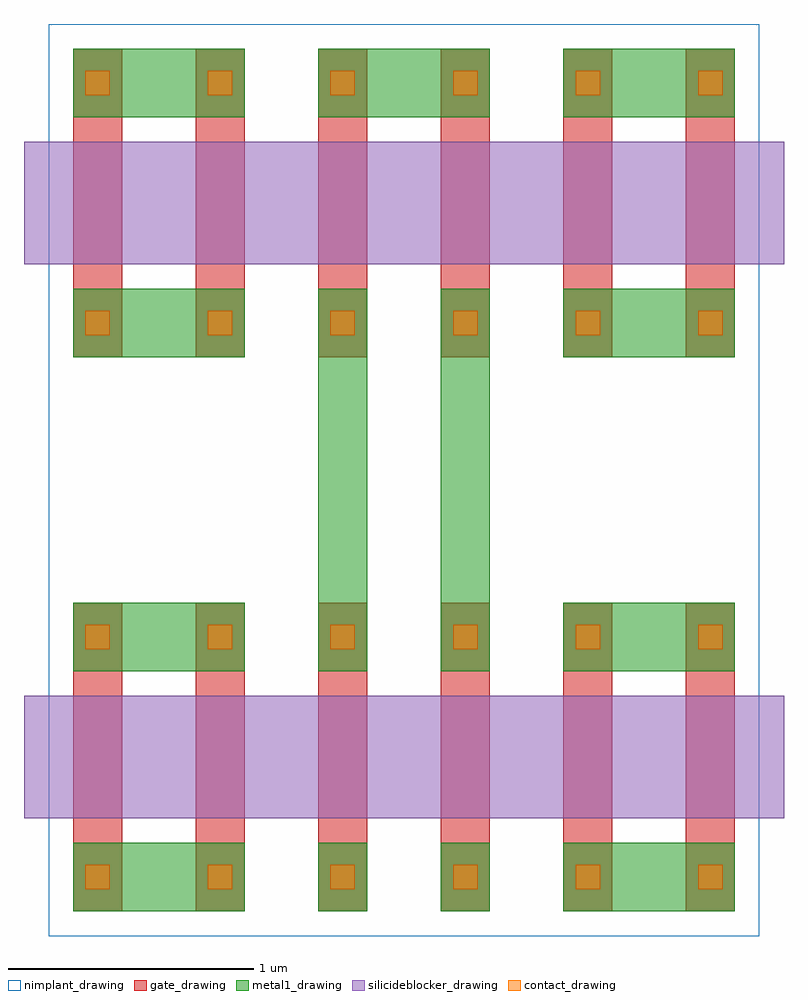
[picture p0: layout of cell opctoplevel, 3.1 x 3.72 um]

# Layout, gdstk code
import gdstk
lib = gdstk.Library(unit=1e-6, precision=1e-09)
def R(c, l, rs):  # rectangles x0, y0, x1, y1
    for r in rs: c.add(gdstk.rectangle(r[:2], r[2:], *l))
def A(c, l, x, y, w, h, nx, ny, dx, dy):  # array of equal rectangles
    R(c, l, [(x+i*dx, y+j*dy, x+i*dx+w, y+j*dy+h) for i in range(nx) for j in range(ny)])
nimplant_drawing = (5, 0)
gate_drawing = (6, 0)
contact_drawing = (7, 0)
metal1_drawing = (8, 0)
silicideblocker_drawing = (28, 0)

opctoplevel = lib.new_cell('opctoplevel')
R(opctoplevel, nimplant_drawing, [(-0.1,-0.1,2.8,3.62)])
A(opctoplevel, gate_drawing, 0, 0, 0.2, 1.26, 6, 2, 0.5, 2.26)
A(opctoplevel, gate_drawing, 0, 0, 0.2, 0.28, 6, 2, 0.5, 0.98)
A(opctoplevel, gate_drawing, 0, 2.26, 0.2, 0.28, 6, 2, 0.5, 0.98)
A(opctoplevel, contact_drawing, 0.05, 0.09, 0.1, 0.1, 6, 2, 0.5, 0.98)
A(opctoplevel, contact_drawing, 0.05, 2.35, 0.1, 0.1, 6, 2, 0.5, 0.98)
A(opctoplevel, metal1_drawing, 0, 0, 0.2, 0.28, 6, 2, 0.5, 0.98)
A(opctoplevel, metal1_drawing, 0, 2.26, 0.2, 0.28, 6, 2, 0.5, 0.98)
A(opctoplevel, metal1_drawing, 0, 3.24, 0.7, 0.28, 3, 1, 1, 0)
R(opctoplevel, metal1_drawing, [(0,0,0.7,0.28), (2,0,2.7,0.28), (0,0.98,0.7,1.26), (1,0.98,1.2,2.54), (1.5,0.98,1.7,2.54), (2,0.98,2.7,1.26), (0,2.26,0.7,2.54), (2,2.26,2.7,2.54)])
R(opctoplevel, silicideblocker_drawing, [(-0.2,0.38,2.9,0.88), (-0.2,2.64,2.9,3.14)])

lib.write_gds('opctoplevel.gds')
